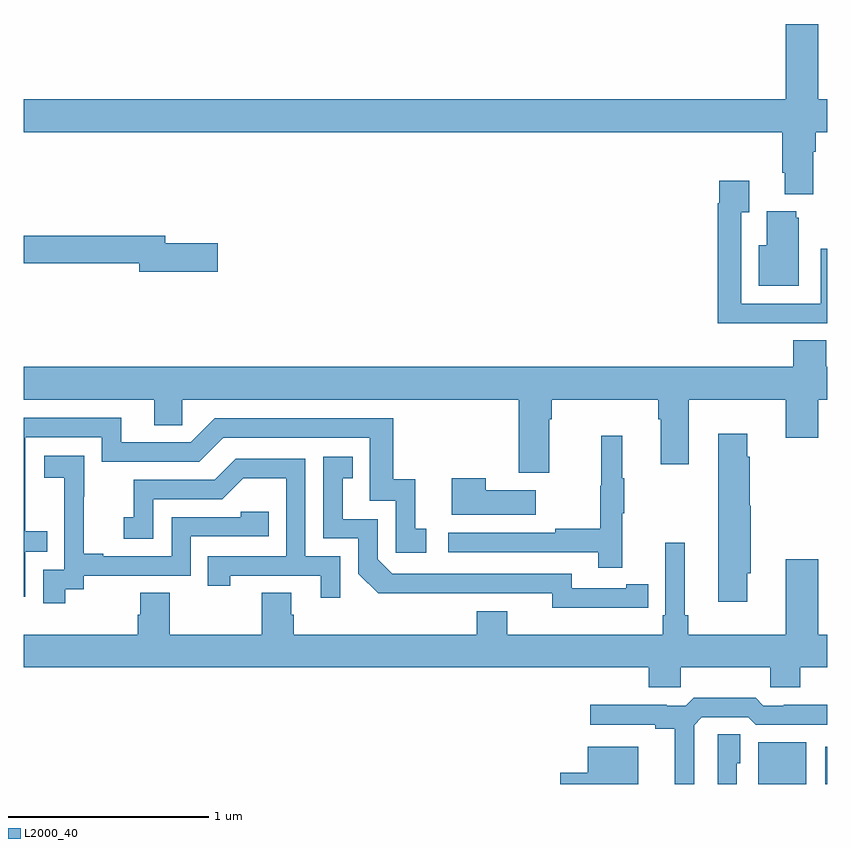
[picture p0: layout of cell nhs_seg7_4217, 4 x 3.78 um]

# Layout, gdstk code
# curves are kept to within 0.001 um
import gdstk
lib = gdstk.Library(unit=1e-6, precision=1e-09)
def R(c, l, rs):  # rectangles x0, y0, x1, y1
    for r in rs: c.add(gdstk.rectangle(r[:2], r[2:], *l))
def P(c, l, *ps):  # polygons
    for p in ps: c.add(gdstk.Polygon(p, *l))
L2000_40 = (2000, 40)

nhs_seg7_4217 = lib.new_cell('nhs_seg7_4217')
R(nhs_seg7_4217, L2000_40, [(380.657,1036,380.896,1036.207), (380.99,1036,381,1036.186)])
P(nhs_seg7_4217, L2000_40, [(380.929,1039.148),(380.942,1039.148),(380.942,1039.244),(381,1039.244),(381,1039.408),(380.956,1039.408),(380.956,1039.783),(380.792,1039.783),(380.792,1039.408),(377,1039.408),(377,1039.244),(380.777,1039.244),(380.777,1039.042),(380.789,1039.042),(380.789,1038.935),(380.929,1038.935)],
  [(380.747,1038.294),(381,1038.294),(381,1038.664),(380.967,1038.664),(380.967,1038.39),(380.571,1038.39),(380.571,1038.847),(380.611,1038.847),(380.611,1039.003),(380.463,1039.003),(380.463,1038.89),(380.455,1038.89),(380.455,1038.293),(380.747,1038.293)],
  [(380.857,1038.819),(380.846,1038.819),(380.846,1038.85),(380.699,1038.85),(380.699,1038.682),(380.66,1038.682),(380.66,1038.479),(380.857,1038.479)],
  [(377.965,1038.692),(377.704,1038.692),(377.704,1038.728),(377,1038.728),(377,1038.592),(377.576,1038.592),(377.576,1038.55),(377.965,1038.55)],
  [(379.615,1037.816),(379.628,1037.816),(379.628,1037.912),(380.159,1037.912),(380.159,1037.816),(380.171,1037.816),(380.171,1037.592),(380.311,1037.592),(380.311,1037.912),(380.792,1037.912),(380.792,1037.724),(380.956,1037.724),(380.956,1037.912),(381,1037.912),(381,1038.076),(380.996,1038.076),(380.996,1038.209),(380.831,1038.209),(380.831,1038.076),(377,1038.076),(377,1037.912),(377.651,1037.912),(377.651,1037.785),(377.79,1037.785),(377.79,1037.912),(379.463,1037.912),(379.463,1037.55),(379.615,1037.55)],
  [(377.007,1037.157),(377.117,1037.157),(377.117,1037.258),(377.007,1037.258),(377.007,1037.727),(377.388,1037.727),(377.388,1037.604),(377.874,1037.604),(377.994,1037.724),(378.723,1037.724),(378.723,1037.409),(378.852,1037.409),(378.852,1037.151),(379.003,1037.151),(379.003,1037.271),(378.95,1037.271),(378.95,1037.518),(378.839,1037.518),(378.839,1037.82),(377.952,1037.82),(377.832,1037.7),(377.485,1037.7),(377.485,1037.823),(377,1037.823),(377,1036.932),(377.007,1036.932)],
  [(380.602,1037.049),(380.62,1037.049),(380.62,1037.385),(380.615,1037.385),(380.615,1037.63),(380.602,1037.63),(380.602,1037.743),(380.456,1037.743),(380.456,1036.908),(380.602,1036.908)],
  [(379.979,1037.347),(379.99,1037.347),(379.99,1037.521),(379.979,1037.521),(379.979,1037.734),(379.876,1037.734),(379.876,1037.484),(379.869,1037.484),(379.869,1037.27),(379.645,1037.27),(379.645,1037.25),(379.113,1037.25),(379.113,1037.154),(379.861,1037.154),(379.861,1037.076),(379.979,1037.076)],
  [(377.206,1036.969),(377.298,1036.969),(377.298,1037.037),(377.832,1037.037),(377.832,1037.232),(378.221,1037.232),(378.221,1037.355),(378.081,1037.355),(378.081,1037.328),(377.736,1037.328),(377.736,1037.133),(377.395,1037.133),(377.395,1037.146),(377.3,1037.146),(377.3,1037.429),(377.301,1037.429),(377.301,1037.635),(377.103,1037.635),(377.103,1037.525),(377.201,1037.525),(377.201,1037.297),(377.202,1037.297),(377.202,1037.067),(377.097,1037.067),(377.097,1036.899),(377.206,1036.899)],
  [(380,1036.878),(380.108,1036.878),(380.108,1036.994),(380,1036.994),(380,1036.974),(379.728,1036.974),(379.728,1037.046),(378.834,1037.046),(378.762,1037.118),(378.762,1037.319),(378.589,1037.319),(378.589,1037.523),(378.638,1037.523),(378.638,1037.629),(378.492,1037.629),(378.492,1037.223),(378.666,1037.223),(378.666,1037.046),(378.764,1036.949),(379.632,1036.95),(379.632,1036.877)],
  [(378.576,1037.133),(378.402,1037.133),(378.402,1037.619),(378.056,1037.619),(377.951,1037.514),(377.548,1037.514),(377.548,1037.329),(377.499,1037.329),(377.499,1037.22),(377.646,1037.22),(377.646,1037.418),(377.988,1037.418),(378.092,1037.522),(378.306,1037.522),(378.306,1037.133),(377.917,1037.133),(377.917,1036.986),(378.028,1036.986),(378.028,1037.037),(378.479,1037.037),(378.479,1036.926),(378.576,1036.926)],
  [(379.549,1037.461),(379.301,1037.461),(379.301,1037.521),(379.13,1037.521),(379.13,1037.339),(379.549,1037.339)],
  [(380.271,1036.58),(380.716,1036.58),(380.716,1036.482),(380.866,1036.482),(380.866,1036.58),(381,1036.58),(381,1036.744),(380.956,1036.744),(380.956,1037.119),(380.792,1037.119),(380.792,1036.744),(380.309,1036.744),(380.309,1036.84),(380.29,1036.84),(380.29,1037.2),(380.193,1037.2),(380.193,1036.84),(380.18,1036.84),(380.18,1036.744),(379.408,1036.744),(379.408,1036.861),(379.256,1036.861),(379.256,1036.744),(378.344,1036.744),(378.344,1036.842),(378.331,1036.842),(378.331,1036.952),(378.184,1036.952),(378.184,1036.744),(377.727,1036.744),(377.727,1036.952),(377.579,1036.952),(377.579,1036.842),(377.567,1036.842),(377.567,1036.744),(377,1036.744),(377,1036.58),(380.111,1036.58),(380.111,1036.482),(380.271,1036.482)],
  [(380.337,1036.293),(380.376,1036.332),(380.607,1036.332),(380.643,1036.296),(381,1036.296),(381,1036.394),(380.782,1036.394),(380.782,1036.389),(380.682,1036.389),(380.643,1036.429),(380.335,1036.429),(380.295,1036.389),(380.201,1036.389),(380.201,1036.394),(379.821,1036.394),(379.821,1036.296),(380.144,1036.296),(380.144,1036.274),(380.24,1036.274),(380.24,1036),(380.337,1036)],
  [(380.55,1036.104),(380.566,1036.104),(380.566,1036.247),(380.454,1036.247),(380.454,1036),(380.55,1036)],
  [(380.059,1036.186),(379.808,1036.186),(379.808,1036.057),(379.671,1036.057),(379.671,1036),(380.059,1036)])

lib.write_gds('nhs_seg7_4217.gds')
